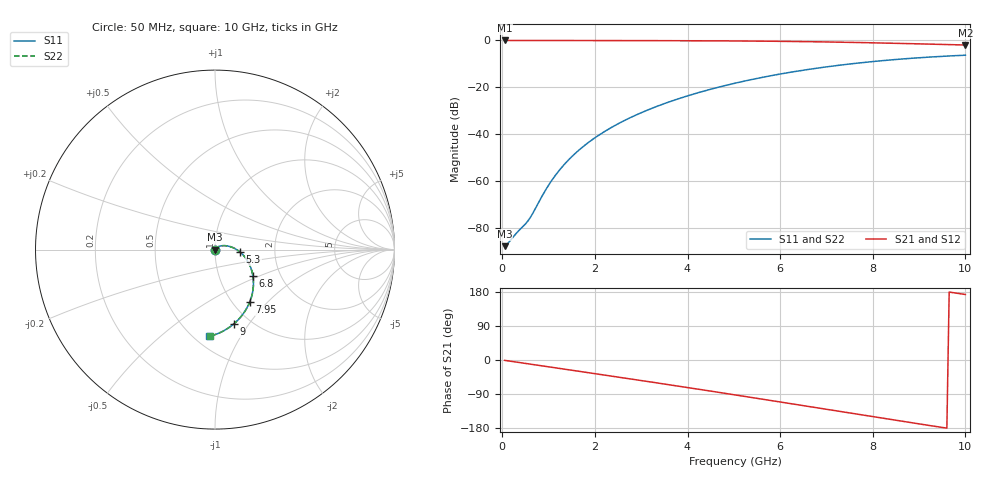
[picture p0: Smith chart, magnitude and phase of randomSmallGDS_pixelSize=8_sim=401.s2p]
! freq	dB(S11)	phase(S11)	dB(S12)	phase(S12)
!  dB(S21)	phase(S21)	dB(S22)	phase(S22)
!S-par simulation data
#  GHz  S  DB  R 50
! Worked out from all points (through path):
!   200 points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, 50 MHz to 10 GHz, reference 50 ohm
!   highest |S21| = 0.00 dB at 50 MHz (marker M1); lowest = -1.9 dB at 10 GHz (marker M2)
!   group delay of S21, straight-line fit = 52.4 ps
!   lowest |S11| = -87.8 dB at 50 MHz (marker M3), VSWR 1.00, Z = 50 - j9.26e-05 ohm
!   |S11| at or under -10 dB: start of sweep to 7.524 GHz
!   |S22| runs from -87.8 to -6.3 dB; largest |S21 - S12| = 0
!   S11 on the Smith chart (normalised r, x): 50 MHz: 1.00, -0.00; 5.3 GHz: 1.32, -0.04; 6.8 GHz: 1.45, -0.45; 7.95 GHz: 1.19, -0.79; 9 GHz: 0.84, -0.85; 10 GHz: 0.59, -0.75
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0.05  -87.83 -1.3  -0.00 -0.9  -0.00 -0.9  -87.83 -1.3
0.4  -80.34 6.0  -0.01 -7.3  -0.01 -7.3  -80.44 6.2
0.45  -79.38 11.6  -0.01 -8.2  -0.01 -8.2  -79.48 11.8
0.6  -75.73 34.9  -0.01 -10.8  -0.01 -10.8  -75.81 35.5
0.95  -63.35 67.3  -0.02 -17.1  -0.02 -17.1  -63.36 67.7
1.15  -57.48 69.5  -0.03 -20.7  -0.03 -20.7  -57.48 69.8
1.45  -50.60 66.9  -0.03 -26.1  -0.03 -26.1  -50.59 67.1
1.75  -45.25 62.0  -0.04 -31.5  -0.04 -31.5  -45.24 62.2
2.1  -40.24 55.5  -0.05 -37.8  -0.05 -37.8  -40.23 55.6
2.45  -36.12 48.7  -0.05 -44.2  -0.05 -44.2  -36.12 48.9
2.9  -31.72 40.0  -0.07 -52.4  -0.07 -52.4  -31.72 40.2
3.4  -27.68 30.5  -0.08 -61.5  -0.08 -61.5  -27.68 30.6
4.25  -22.19 14.3  -0.13 -77.4  -0.13 -77.4  -22.19 14.4
5.05  -18.13 -1.0  -0.21 -92.5  -0.21 -92.5  -18.13 -0.9
5.3  -17.04 -5.8  -0.24 -97.3  -0.24 -97.3  -17.04 -5.7
6  -14.33 -19.2  -0.37 -110.8  -0.37 -110.8  -14.33 -19.1
6.7  -12.10 -32.7  -0.54 -124.4  -0.54 -124.4  -12.10 -32.6
6.8  -11.82 -34.6  -0.57 -126.4  -0.57 -126.4  -11.82 -34.6
7.95  -9.10 -56.6  -0.98 -148.7  -0.98 -148.7  -9.10 -56.5
8.35  -8.37 -64.0  -1.15 -156.4  -1.15 -156.4  -8.37 -64.0
9  -7.38 -76.0  -1.46 -168.7  -1.46 -168.7  -7.38 -75.9
10  -6.30 -93.7  -1.94 172.9  -1.94 172.9  -6.30 -93.6
